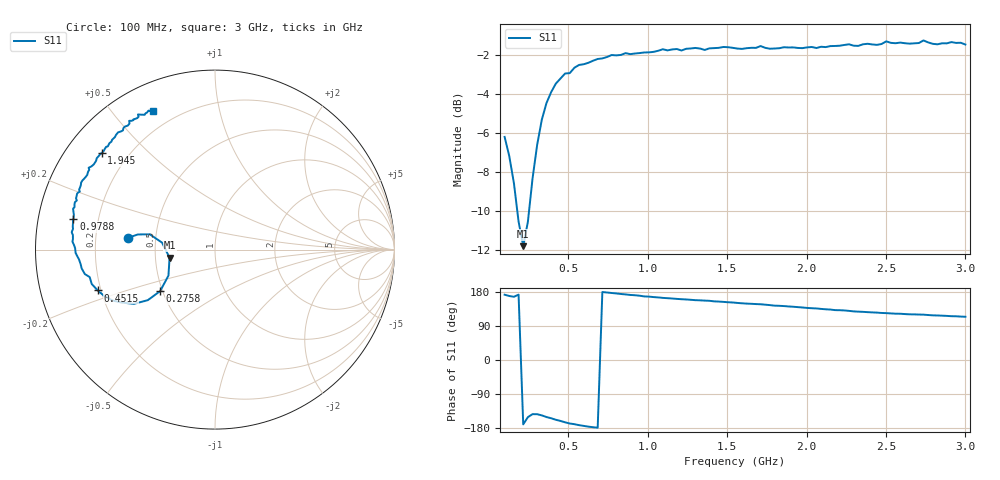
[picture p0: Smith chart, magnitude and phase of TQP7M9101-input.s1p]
#Hz S ri R 50
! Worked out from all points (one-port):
!   100 points, 100 MHz to 3 GHz, reference 50 ohm
!   lowest |S11| = -11.8 dB at 217.2 MHz (marker M1), VSWR 1.69, Z = 29.7 - j2.88 ohm
!   |S11| at or under -10 dB: 180 MHz to 253.7 MHz (73.73 MHz wide, 34 % of centre)
!   S11 on the Smith chart (normalised r, x): 100 MHz: 0.34, +0.06; 275.8 MHz: 0.49, -0.26; 451.5 MHz: 0.19, -0.16; 978.8 MHz: 0.11, +0.11; 1.945 GHz: 0.11, +0.36; 3 GHz: 0.12, +0.64
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1e8  -0.486 0.0654
1.58586e8  -0.3633 0.085
1.87879e8  -0.2949 0.0388
2.17172e8  -0.2531 -0.0453
2.46465e8  -0.2593 -0.1447
2.75758e8  -0.3057 -0.2315
3.05051e8  -0.3743 -0.2816
3.34343e8  -0.4515 -0.3022
3.92929e8  -0.5727 -0.2831
4.51515e8  -0.6537 -0.2275
4.80808e8  -0.6869 -0.1914
5.68687e8  -0.7428 -0.105
7.73737e8  -0.7941 0.0442
8.32323e8  -0.7918 0.081
9.78788e8  -0.7891 0.1709
1.21313e9  -0.7697 0.2738
1.47677e9  -0.7459 0.3734
1.56465e9  -0.7201 0.4052
1.71111e9  -0.704 0.4557
1.79899e9  -0.6637 0.4927
1.91616e9  -0.6423 0.5288
1.94545e9  -0.6312 0.5379
2.29697e9  -0.5207 0.6596
2.50202e9  -0.4782 0.7175
2.64848e9  -0.4322 0.7327
2.73636e9  -0.4293 0.7531
2.79495e9  -0.3967 0.7514
3e9  -0.3459 0.7724
